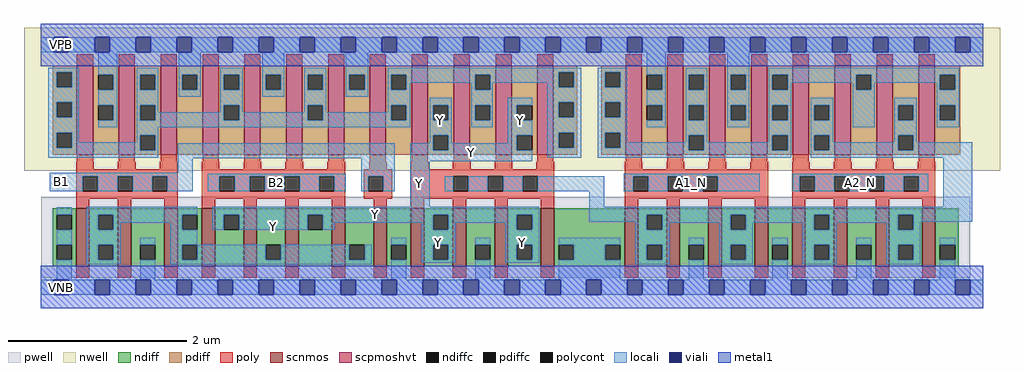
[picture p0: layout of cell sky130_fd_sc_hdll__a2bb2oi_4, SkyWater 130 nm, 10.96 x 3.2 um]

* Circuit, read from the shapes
.subckt sky130_fd_sc_hdll__a2bb2oi_4 A1_N A2_N B1 B2 VGND VNB VPB VPWR Y
XM1 n1 B1 VGND VNB sky130_fd_pr__nfet_01v8 w=0.65 l=0.15 m=4
XM2 Y B2 n1 VNB sky130_fd_pr__nfet_01v8 w=0.65 l=0.15 m=4
XM3 Y n2 VGND VNB sky130_fd_pr__nfet_01v8 w=0.65 l=0.15 m=4
XM4 n2 A1_N VGND VNB sky130_fd_pr__nfet_01v8 w=0.65 l=0.15 m=4
XM5 n2 A2_N VGND VNB sky130_fd_pr__nfet_01v8 w=0.65 l=0.15 m=4
XM6 VPWR B1 n3 VPB sky130_fd_pr__pfet_01v8_hvt w=1 l=0.18 m=4
XM7 n3 B2 VPWR VPB sky130_fd_pr__pfet_01v8_hvt w=1 l=0.18 m=4
XM8 Y n2 n3 VPB sky130_fd_pr__pfet_01v8_hvt w=1 l=0.18 m=4
XM9 VPWR A1_N n4 VPB sky130_fd_pr__pfet_01v8_hvt w=1 l=0.18 m=4
XM10 n2 A2_N n4 VPB sky130_fd_pr__pfet_01v8_hvt w=1 l=0.18 m=4
.ends

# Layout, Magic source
magic
tech sky130A
magscale 1 2
<< nwell >>
rect -38 261 2154 582
<< pwell >>
rect 1 21 2087 203
rect 30 -17 64 21
<< scnmos >>
rect 79 47 109 177
rect 173 47 203 177
rect 277 47 307 177
rect 361 47 391 177
rect 455 47 485 177
rect 549 47 579 177
rect 653 47 683 177
rect 747 47 777 177
rect 831 47 861 177
rect 925 47 955 177
rect 1019 47 1049 177
rect 1123 47 1153 177
rect 1311 47 1341 177
rect 1405 47 1435 177
rect 1499 47 1529 177
rect 1603 47 1633 177
rect 1687 47 1717 177
rect 1781 47 1811 177
rect 1875 47 1905 177
rect 1979 47 2009 177
<< scpmoshvt >>
rect 81 297 117 497
rect 175 297 211 497
rect 269 297 305 497
rect 363 297 399 497
rect 457 297 493 497
rect 551 297 587 497
rect 645 297 681 497
rect 739 297 775 497
rect 833 297 869 497
rect 927 297 963 497
rect 1021 297 1057 497
rect 1115 297 1151 497
rect 1313 297 1349 497
rect 1407 297 1443 497
rect 1501 297 1537 497
rect 1595 297 1631 497
rect 1689 297 1725 497
rect 1783 297 1819 497
rect 1877 297 1913 497
rect 1971 297 2007 497
<< ndiff >>
rect 27 163 79 177
rect 27 129 35 163
rect 69 129 79 163
rect 27 95 79 129
rect 27 61 35 95
rect 69 61 79 95
rect 27 47 79 61
rect 109 163 173 177
rect 109 129 129 163
rect 163 129 173 163
rect 109 95 173 129
rect 109 61 129 95
rect 163 61 173 95
rect 109 47 173 61
rect 203 95 277 177
rect 203 61 223 95
rect 257 61 277 95
rect 203 47 277 61
rect 307 163 361 177
rect 307 129 317 163
rect 351 129 361 163
rect 307 95 361 129
rect 307 61 317 95
rect 351 61 361 95
rect 307 47 361 61
rect 391 163 455 177
rect 391 129 411 163
rect 445 129 455 163
rect 391 47 455 129
rect 485 95 549 177
rect 485 61 505 95
rect 539 61 549 95
rect 485 47 549 61
rect 579 163 653 177
rect 579 129 599 163
rect 633 129 653 163
rect 579 47 653 129
rect 683 95 747 177
rect 683 61 693 95
rect 727 61 747 95
rect 683 47 747 61
rect 777 95 831 177
rect 777 61 787 95
rect 821 61 831 95
rect 777 47 831 61
rect 861 163 925 177
rect 861 129 881 163
rect 915 129 925 163
rect 861 95 925 129
rect 861 61 881 95
rect 915 61 925 95
rect 861 47 925 61
rect 955 95 1019 177
rect 955 61 975 95
rect 1009 61 1019 95
rect 955 47 1019 61
rect 1049 163 1123 177
rect 1049 129 1069 163
rect 1103 129 1123 163
rect 1049 95 1123 129
rect 1049 61 1069 95
rect 1103 61 1123 95
rect 1049 47 1123 61
rect 1153 95 1311 177
rect 1153 61 1163 95
rect 1197 61 1267 95
rect 1301 61 1311 95
rect 1153 47 1311 61
rect 1341 163 1405 177
rect 1341 129 1361 163
rect 1395 129 1405 163
rect 1341 95 1405 129
rect 1341 61 1361 95
rect 1395 61 1405 95
rect 1341 47 1405 61
rect 1435 95 1499 177
rect 1435 61 1455 95
rect 1489 61 1499 95
rect 1435 47 1499 61
rect 1529 163 1603 177
rect 1529 129 1549 163
rect 1583 129 1603 163
rect 1529 95 1603 129
rect 1529 61 1549 95
rect 1583 61 1603 95
rect 1529 47 1603 61
rect 1633 95 1687 177
rect 1633 61 1643 95
rect 1677 61 1687 95
rect 1633 47 1687 61
rect 1717 163 1781 177
rect 1717 129 1737 163
rect 1771 129 1781 163
rect 1717 95 1781 129
rect 1717 61 1737 95
rect 1771 61 1781 95
rect 1717 47 1781 61
rect 1811 95 1875 177
rect 1811 61 1831 95
rect 1865 61 1875 95
rect 1811 47 1875 61
rect 1905 163 1979 177
rect 1905 129 1925 163
rect 1959 129 1979 163
rect 1905 95 1979 129
rect 1905 61 1925 95
rect 1959 61 1979 95
rect 1905 47 1979 61
rect 2009 95 2061 177
rect 2009 61 2019 95
rect 2053 61 2061 95
rect 2009 47 2061 61
<< pdiff >>
rect 27 483 81 497
rect 27 449 35 483
rect 69 449 81 483
rect 27 415 81 449
rect 27 381 35 415
rect 69 381 81 415
rect 27 347 81 381
rect 27 313 35 347
rect 69 313 81 347
rect 27 297 81 313
rect 117 477 175 497
rect 117 443 129 477
rect 163 443 175 477
rect 117 409 175 443
rect 117 375 129 409
rect 163 375 175 409
rect 117 297 175 375
rect 211 477 269 497
rect 211 443 223 477
rect 257 443 269 477
rect 211 409 269 443
rect 211 375 223 409
rect 257 375 269 409
rect 211 341 269 375
rect 211 307 223 341
rect 257 307 269 341
rect 211 297 269 307
rect 305 477 363 497
rect 305 443 317 477
rect 351 443 363 477
rect 305 297 363 443
rect 399 477 457 497
rect 399 443 411 477
rect 445 443 457 477
rect 399 409 457 443
rect 399 375 411 409
rect 445 375 457 409
rect 399 297 457 375
rect 493 477 551 497
rect 493 443 505 477
rect 539 443 551 477
rect 493 297 551 443
rect 587 477 645 497
rect 587 443 599 477
rect 633 443 645 477
rect 587 409 645 443
rect 587 375 599 409
rect 633 375 645 409
rect 587 297 645 375
rect 681 477 739 497
rect 681 443 693 477
rect 727 443 739 477
rect 681 297 739 443
rect 775 477 833 497
rect 775 443 787 477
rect 821 443 833 477
rect 775 409 833 443
rect 775 375 787 409
rect 821 375 833 409
rect 775 297 833 375
rect 869 409 927 497
rect 869 375 881 409
rect 915 375 927 409
rect 869 341 927 375
rect 869 307 881 341
rect 915 307 927 341
rect 869 297 927 307
rect 963 477 1021 497
rect 963 443 975 477
rect 1009 443 1021 477
rect 963 409 1021 443
rect 963 375 975 409
rect 1009 375 1021 409
rect 963 297 1021 375
rect 1057 409 1115 497
rect 1057 375 1069 409
rect 1103 375 1115 409
rect 1057 341 1115 375
rect 1057 307 1069 341
rect 1103 307 1115 341
rect 1057 297 1115 307
rect 1151 483 1205 497
rect 1151 449 1163 483
rect 1197 449 1205 483
rect 1151 415 1205 449
rect 1151 381 1163 415
rect 1197 381 1205 415
rect 1151 347 1205 381
rect 1151 313 1163 347
rect 1197 313 1205 347
rect 1151 297 1205 313
rect 1259 483 1313 497
rect 1259 449 1267 483
rect 1301 449 1313 483
rect 1259 415 1313 449
rect 1259 381 1267 415
rect 1301 381 1313 415
rect 1259 347 1313 381
rect 1259 313 1267 347
rect 1301 313 1313 347
rect 1259 297 1313 313
rect 1349 477 1407 497
rect 1349 443 1361 477
rect 1395 443 1407 477
rect 1349 409 1407 443
rect 1349 375 1361 409
rect 1395 375 1407 409
rect 1349 297 1407 375
rect 1443 477 1501 497
rect 1443 443 1455 477
rect 1489 443 1501 477
rect 1443 409 1501 443
rect 1443 375 1455 409
rect 1489 375 1501 409
rect 1443 341 1501 375
rect 1443 307 1455 341
rect 1489 307 1501 341
rect 1443 297 1501 307
rect 1537 477 1595 497
rect 1537 443 1549 477
rect 1583 443 1595 477
rect 1537 409 1595 443
rect 1537 375 1549 409
rect 1583 375 1595 409
rect 1537 297 1595 375
rect 1631 477 1689 497
rect 1631 443 1643 477
rect 1677 443 1689 477
rect 1631 409 1689 443
rect 1631 375 1643 409
rect 1677 375 1689 409
rect 1631 341 1689 375
rect 1631 307 1643 341
rect 1677 307 1689 341
rect 1631 297 1689 307
rect 1725 409 1783 497
rect 1725 375 1737 409
rect 1771 375 1783 409
rect 1725 341 1783 375
rect 1725 307 1737 341
rect 1771 307 1783 341
rect 1725 297 1783 307
rect 1819 477 1877 497
rect 1819 443 1831 477
rect 1865 443 1877 477
rect 1819 297 1877 443
rect 1913 409 1971 497
rect 1913 375 1925 409
rect 1959 375 1971 409
rect 1913 341 1971 375
rect 1913 307 1925 341
rect 1959 307 1971 341
rect 1913 297 1971 307
rect 2007 477 2065 497
rect 2007 443 2019 477
rect 2053 443 2065 477
rect 2007 409 2065 443
rect 2007 375 2019 409
rect 2053 375 2065 409
rect 2007 297 2065 375
<< ndiffc >>
rect 35 129 69 163
rect 35 61 69 95
rect 129 129 163 163
rect 129 61 163 95
rect 223 61 257 95
rect 317 129 351 163
rect 317 61 351 95
rect 411 129 445 163
rect 505 61 539 95
rect 599 129 633 163
rect 693 61 727 95
rect 787 61 821 95
rect 881 129 915 163
rect 881 61 915 95
rect 975 61 1009 95
rect 1069 129 1103 163
rect 1069 61 1103 95
rect 1163 61 1197 95
rect 1267 61 1301 95
rect 1361 129 1395 163
rect 1361 61 1395 95
rect 1455 61 1489 95
rect 1549 129 1583 163
rect 1549 61 1583 95
rect 1643 61 1677 95
rect 1737 129 1771 163
rect 1737 61 1771 95
rect 1831 61 1865 95
rect 1925 129 1959 163
rect 1925 61 1959 95
rect 2019 61 2053 95
<< pdiffc >>
rect 35 449 69 483
rect 35 381 69 415
rect 35 313 69 347
rect 129 443 163 477
rect 129 375 163 409
rect 223 443 257 477
rect 223 375 257 409
rect 223 307 257 341
rect 317 443 351 477
rect 411 443 445 477
rect 411 375 445 409
rect 505 443 539 477
rect 599 443 633 477
rect 599 375 633 409
rect 693 443 727 477
rect 787 443 821 477
rect 787 375 821 409
rect 881 375 915 409
rect 881 307 915 341
rect 975 443 1009 477
rect 975 375 1009 409
rect 1069 375 1103 409
rect 1069 307 1103 341
rect 1163 449 1197 483
rect 1163 381 1197 415
rect 1163 313 1197 347
rect 1267 449 1301 483
rect 1267 381 1301 415
rect 1267 313 1301 347
rect 1361 443 1395 477
rect 1361 375 1395 409
rect 1455 443 1489 477
rect 1455 375 1489 409
rect 1455 307 1489 341
rect 1549 443 1583 477
rect 1549 375 1583 409
rect 1643 443 1677 477
rect 1643 375 1677 409
rect 1643 307 1677 341
rect 1737 375 1771 409
rect 1737 307 1771 341
rect 1831 443 1865 477
rect 1925 375 1959 409
rect 1925 307 1959 341
rect 2019 443 2053 477
rect 2019 375 2053 409
<< poly >>
rect 81 497 117 523
rect 175 497 211 523
rect 269 497 305 523
rect 363 497 399 523
rect 457 497 493 523
rect 551 497 587 523
rect 645 497 681 523
rect 739 497 775 523
rect 833 497 869 523
rect 927 497 963 523
rect 1021 497 1057 523
rect 1115 497 1151 523
rect 1313 497 1349 523
rect 1407 497 1443 523
rect 1501 497 1537 523
rect 1595 497 1631 523
rect 1689 497 1725 523
rect 1783 497 1819 523
rect 1877 497 1913 523
rect 1971 497 2007 523
rect 81 282 117 297
rect 175 282 211 297
rect 269 282 305 297
rect 363 282 399 297
rect 457 282 493 297
rect 551 282 587 297
rect 645 282 681 297
rect 739 282 775 297
rect 833 282 869 297
rect 927 282 963 297
rect 1021 282 1057 297
rect 1115 282 1151 297
rect 1313 282 1349 297
rect 1407 282 1443 297
rect 1501 282 1537 297
rect 1595 282 1631 297
rect 1689 282 1725 297
rect 1783 282 1819 297
rect 1877 282 1913 297
rect 1971 282 2007 297
rect 79 265 119 282
rect 173 265 213 282
rect 267 265 307 282
rect 79 249 307 265
rect 79 215 94 249
rect 128 215 172 249
rect 206 215 250 249
rect 284 215 307 249
rect 79 199 307 215
rect 79 177 109 199
rect 173 177 203 199
rect 277 177 307 199
rect 361 265 401 282
rect 455 265 495 282
rect 549 265 589 282
rect 643 265 683 282
rect 737 265 777 282
rect 831 265 871 282
rect 925 265 965 282
rect 1019 265 1059 282
rect 1113 265 1153 282
rect 361 249 683 265
rect 361 215 401 249
rect 435 215 469 249
rect 503 215 547 249
rect 581 215 625 249
rect 659 215 683 249
rect 361 199 683 215
rect 725 249 789 265
rect 725 215 735 249
rect 769 215 789 249
rect 725 199 789 215
rect 831 249 1153 265
rect 831 215 926 249
rect 960 215 1004 249
rect 1038 215 1082 249
rect 1116 215 1153 249
rect 831 199 1153 215
rect 361 177 391 199
rect 455 177 485 199
rect 549 177 579 199
rect 653 177 683 199
rect 747 177 777 199
rect 831 177 861 199
rect 925 177 955 199
rect 1019 177 1049 199
rect 1123 177 1153 199
rect 1311 265 1351 282
rect 1405 265 1445 282
rect 1499 265 1539 282
rect 1593 265 1633 282
rect 1311 249 1633 265
rect 1311 215 1330 249
rect 1364 215 1408 249
rect 1442 215 1486 249
rect 1520 215 1633 249
rect 1311 199 1633 215
rect 1311 177 1341 199
rect 1405 177 1435 199
rect 1499 177 1529 199
rect 1603 177 1633 199
rect 1687 265 1727 282
rect 1781 265 1821 282
rect 1875 265 1915 282
rect 1969 265 2009 282
rect 1687 249 2009 265
rect 1687 215 1704 249
rect 1738 215 1782 249
rect 1816 215 1860 249
rect 1894 215 1938 249
rect 1972 215 2009 249
rect 1687 199 2009 215
rect 1687 177 1717 199
rect 1781 177 1811 199
rect 1875 177 1905 199
rect 1979 177 2009 199
rect 79 21 109 47
rect 173 21 203 47
rect 277 21 307 47
rect 361 21 391 47
rect 455 21 485 47
rect 549 21 579 47
rect 653 21 683 47
rect 747 21 777 47
rect 831 21 861 47
rect 925 21 955 47
rect 1019 21 1049 47
rect 1123 21 1153 47
rect 1311 21 1341 47
rect 1405 21 1435 47
rect 1499 21 1529 47
rect 1603 21 1633 47
rect 1687 21 1717 47
rect 1781 21 1811 47
rect 1875 21 1905 47
rect 1979 21 2009 47
<< polycont >>
rect 94 215 128 249
rect 172 215 206 249
rect 250 215 284 249
rect 401 215 435 249
rect 469 215 503 249
rect 547 215 581 249
rect 625 215 659 249
rect 735 215 769 249
rect 926 215 960 249
rect 1004 215 1038 249
rect 1082 215 1116 249
rect 1330 215 1364 249
rect 1408 215 1442 249
rect 1486 215 1520 249
rect 1704 215 1738 249
rect 1782 215 1816 249
rect 1860 215 1894 249
rect 1938 215 1972 249
<< locali >>
rect 0 527 29 561
rect 63 527 121 561
rect 155 527 213 561
rect 247 527 305 561
rect 339 527 397 561
rect 431 527 489 561
rect 523 527 581 561
rect 615 527 673 561
rect 707 527 765 561
rect 799 527 857 561
rect 891 527 949 561
rect 983 527 1041 561
rect 1075 527 1133 561
rect 1167 527 1225 561
rect 1259 527 1317 561
rect 1351 527 1409 561
rect 1443 527 1501 561
rect 1535 527 1593 561
rect 1627 527 1685 561
rect 1719 527 1777 561
rect 1811 527 1869 561
rect 1903 527 1961 561
rect 1995 527 2053 561
rect 2087 527 2116 561
rect 17 483 85 493
rect 17 449 35 483
rect 69 449 85 483
rect 17 415 85 449
rect 17 381 35 415
rect 69 381 85 415
rect 17 347 85 381
rect 129 477 171 527
rect 163 443 171 477
rect 129 409 171 443
rect 163 375 171 409
rect 129 359 171 375
rect 215 477 263 493
rect 215 443 223 477
rect 257 443 263 477
rect 215 409 263 443
rect 309 477 359 527
rect 309 443 317 477
rect 351 443 359 477
rect 309 427 359 443
rect 403 477 453 493
rect 403 443 411 477
rect 445 443 453 477
rect 215 375 223 409
rect 257 393 263 409
rect 403 409 453 443
rect 497 477 547 527
rect 497 443 505 477
rect 539 443 547 477
rect 497 427 547 443
rect 591 477 641 493
rect 591 443 599 477
rect 633 443 641 477
rect 403 393 411 409
rect 257 375 411 393
rect 445 393 453 409
rect 591 409 641 443
rect 685 477 735 527
rect 685 443 693 477
rect 727 443 735 477
rect 685 427 735 443
rect 779 483 1213 493
rect 779 477 1163 483
rect 779 443 787 477
rect 821 459 975 477
rect 821 443 829 459
rect 591 393 599 409
rect 445 375 599 393
rect 633 393 641 409
rect 779 409 829 443
rect 967 443 975 459
rect 1009 459 1163 477
rect 1009 443 1015 459
rect 779 393 787 409
rect 633 375 787 393
rect 821 375 829 409
rect 215 359 829 375
rect 873 409 923 425
rect 873 375 881 409
rect 915 375 923 409
rect 17 313 35 347
rect 69 325 85 347
rect 215 341 263 359
rect 215 325 223 341
rect 69 313 223 325
rect 17 307 223 313
rect 257 307 263 341
rect 873 341 923 375
rect 967 409 1015 443
rect 1137 449 1163 459
rect 1197 449 1213 483
rect 967 375 975 409
rect 1009 375 1015 409
rect 967 359 1015 375
rect 1049 409 1103 425
rect 1049 375 1069 409
rect 873 323 881 341
rect 17 291 263 307
rect 307 289 795 323
rect 307 257 341 289
rect 20 249 341 257
rect 20 215 94 249
rect 128 215 172 249
rect 206 215 250 249
rect 284 215 341 249
rect 375 249 685 255
rect 375 215 401 249
rect 435 215 469 249
rect 503 215 547 249
rect 581 215 625 249
rect 659 215 685 249
rect 719 249 795 289
rect 719 215 735 249
rect 769 215 795 249
rect 829 307 881 323
rect 915 323 923 341
rect 1049 341 1103 375
rect 1049 323 1069 341
rect 915 307 1069 323
rect 829 283 1103 307
rect 1137 415 1213 449
rect 1137 381 1163 415
rect 1197 381 1213 415
rect 1137 347 1213 381
rect 1137 313 1163 347
rect 1197 313 1213 347
rect 1137 291 1213 313
rect 1251 483 1317 493
rect 1251 449 1267 483
rect 1301 449 1317 483
rect 1251 415 1317 449
rect 1251 381 1267 415
rect 1301 381 1317 415
rect 1251 347 1317 381
rect 1361 477 1403 527
rect 1395 443 1403 477
rect 1361 409 1403 443
rect 1395 375 1403 409
rect 1361 359 1403 375
rect 1448 477 1496 493
rect 1448 443 1455 477
rect 1489 443 1496 477
rect 1448 409 1496 443
rect 1448 375 1455 409
rect 1489 375 1496 409
rect 1251 313 1267 347
rect 1301 325 1317 347
rect 1448 341 1496 375
rect 1541 477 1591 527
rect 1541 443 1549 477
rect 1583 443 1591 477
rect 1541 409 1591 443
rect 1541 375 1549 409
rect 1583 375 1591 409
rect 1541 359 1591 375
rect 1635 477 2062 493
rect 1635 443 1643 477
rect 1677 459 1831 477
rect 1677 443 1685 459
rect 1635 409 1685 443
rect 1823 443 1831 459
rect 1865 459 2019 477
rect 1865 443 1873 459
rect 1635 375 1643 409
rect 1677 375 1685 409
rect 1448 325 1455 341
rect 1301 313 1455 325
rect 1251 307 1455 313
rect 1489 325 1496 341
rect 1635 341 1685 375
rect 1635 325 1643 341
rect 1489 307 1643 325
rect 1677 307 1685 341
rect 1251 291 1685 307
rect 1729 409 1779 425
rect 1729 375 1737 409
rect 1771 375 1779 409
rect 1729 341 1779 375
rect 1823 359 1873 443
rect 2012 443 2019 459
rect 2053 443 2062 477
rect 1917 409 1967 425
rect 1917 375 1925 409
rect 1959 375 1967 409
rect 1729 307 1737 341
rect 1771 325 1779 341
rect 1917 341 1967 375
rect 2012 409 2062 443
rect 2012 375 2019 409
rect 2053 375 2062 409
rect 2012 359 2062 375
rect 1917 325 1925 341
rect 1771 307 1925 325
rect 1959 325 1967 341
rect 1959 307 2092 325
rect 1729 291 2092 307
rect 829 181 873 283
rect 1309 249 1614 255
rect 907 215 926 249
rect 960 215 1004 249
rect 1038 215 1082 249
rect 1116 215 1265 249
rect 1309 215 1330 249
rect 1364 215 1408 249
rect 1442 215 1486 249
rect 1520 215 1614 249
rect 1688 249 1993 255
rect 1688 215 1704 249
rect 1738 215 1782 249
rect 1816 215 1860 249
rect 1894 215 1938 249
rect 1972 215 1993 249
rect 1231 181 1265 215
rect 2027 181 2092 291
rect 35 163 69 179
rect 35 95 69 129
rect 35 17 69 61
rect 103 163 351 181
rect 103 129 129 163
rect 163 145 317 163
rect 163 129 179 145
rect 103 95 179 129
rect 291 129 317 145
rect 385 163 1119 181
rect 385 129 411 163
rect 445 129 599 163
rect 633 145 881 163
rect 633 129 659 145
rect 855 129 881 145
rect 915 145 1069 163
rect 915 129 931 145
rect 103 61 129 95
rect 163 61 179 95
rect 103 51 179 61
rect 223 95 257 111
rect 223 17 257 61
rect 291 95 351 129
rect 787 95 821 111
rect 291 61 317 95
rect 351 61 505 95
rect 539 61 693 95
rect 727 61 743 95
rect 291 51 743 61
rect 787 17 821 61
rect 855 95 931 129
rect 1043 129 1069 145
rect 1103 129 1119 163
rect 1231 163 2092 181
rect 1231 147 1361 163
rect 855 61 881 95
rect 915 61 931 95
rect 855 55 931 61
rect 975 95 1009 111
rect 975 17 1009 61
rect 1043 95 1119 129
rect 1335 129 1361 147
rect 1395 145 1549 163
rect 1395 129 1411 145
rect 1043 61 1069 95
rect 1103 61 1119 95
rect 1043 55 1119 61
rect 1163 95 1301 111
rect 1197 61 1267 95
rect 1163 17 1301 61
rect 1335 95 1411 129
rect 1523 129 1549 145
rect 1583 145 1737 163
rect 1583 129 1599 145
rect 1335 61 1361 95
rect 1395 61 1411 95
rect 1335 51 1411 61
rect 1455 95 1489 111
rect 1455 17 1489 61
rect 1523 95 1599 129
rect 1711 129 1737 145
rect 1771 145 1925 163
rect 1771 129 1787 145
rect 1523 61 1549 95
rect 1583 61 1599 95
rect 1523 51 1599 61
rect 1643 95 1677 111
rect 1643 17 1677 61
rect 1711 95 1787 129
rect 1899 129 1925 145
rect 1959 147 2092 163
rect 1959 129 1975 147
rect 1711 61 1737 95
rect 1771 61 1787 95
rect 1711 51 1787 61
rect 1831 95 1865 111
rect 1831 17 1865 61
rect 1899 95 1975 129
rect 1899 61 1925 95
rect 1959 61 1975 95
rect 1899 51 1975 61
rect 2019 95 2053 111
rect 2019 17 2053 61
rect 0 -17 29 17
rect 63 -17 121 17
rect 155 -17 213 17
rect 247 -17 305 17
rect 339 -17 397 17
rect 431 -17 489 17
rect 523 -17 581 17
rect 615 -17 673 17
rect 707 -17 765 17
rect 799 -17 857 17
rect 891 -17 949 17
rect 983 -17 1041 17
rect 1075 -17 1133 17
rect 1167 -17 1225 17
rect 1259 -17 1317 17
rect 1351 -17 1409 17
rect 1443 -17 1501 17
rect 1535 -17 1593 17
rect 1627 -17 1685 17
rect 1719 -17 1777 17
rect 1811 -17 1869 17
rect 1903 -17 1961 17
rect 1995 -17 2053 17
rect 2087 -17 2116 17
<< viali >>
rect 29 527 63 561
rect 121 527 155 561
rect 213 527 247 561
rect 305 527 339 561
rect 397 527 431 561
rect 489 527 523 561
rect 581 527 615 561
rect 673 527 707 561
rect 765 527 799 561
rect 857 527 891 561
rect 949 527 983 561
rect 1041 527 1075 561
rect 1133 527 1167 561
rect 1225 527 1259 561
rect 1317 527 1351 561
rect 1409 527 1443 561
rect 1501 527 1535 561
rect 1593 527 1627 561
rect 1685 527 1719 561
rect 1777 527 1811 561
rect 1869 527 1903 561
rect 1961 527 1995 561
rect 2053 527 2087 561
rect 29 -17 63 17
rect 121 -17 155 17
rect 213 -17 247 17
rect 305 -17 339 17
rect 397 -17 431 17
rect 489 -17 523 17
rect 581 -17 615 17
rect 673 -17 707 17
rect 765 -17 799 17
rect 857 -17 891 17
rect 949 -17 983 17
rect 1041 -17 1075 17
rect 1133 -17 1167 17
rect 1225 -17 1259 17
rect 1317 -17 1351 17
rect 1409 -17 1443 17
rect 1501 -17 1535 17
rect 1593 -17 1627 17
rect 1685 -17 1719 17
rect 1777 -17 1811 17
rect 1869 -17 1903 17
rect 1961 -17 1995 17
rect 2053 -17 2087 17
<< metal1 >>
rect 0 561 2116 592
rect 0 527 29 561
rect 63 527 121 561
rect 155 527 213 561
rect 247 527 305 561
rect 339 527 397 561
rect 431 527 489 561
rect 523 527 581 561
rect 615 527 673 561
rect 707 527 765 561
rect 799 527 857 561
rect 891 527 949 561
rect 983 527 1041 561
rect 1075 527 1133 561
rect 1167 527 1225 561
rect 1259 527 1317 561
rect 1351 527 1409 561
rect 1443 527 1501 561
rect 1535 527 1593 561
rect 1627 527 1685 561
rect 1719 527 1777 561
rect 1811 527 1869 561
rect 1903 527 1961 561
rect 1995 527 2053 561
rect 2087 527 2116 561
rect 0 496 2116 527
rect 0 17 2116 48
rect 0 -17 29 17
rect 63 -17 121 17
rect 155 -17 213 17
rect 247 -17 305 17
rect 339 -17 397 17
rect 431 -17 489 17
rect 523 -17 581 17
rect 615 -17 673 17
rect 707 -17 765 17
rect 799 -17 857 17
rect 891 -17 949 17
rect 983 -17 1041 17
rect 1075 -17 1133 17
rect 1167 -17 1225 17
rect 1259 -17 1317 17
rect 1351 -17 1409 17
rect 1443 -17 1501 17
rect 1535 -17 1593 17
rect 1627 -17 1685 17
rect 1719 -17 1777 17
rect 1811 -17 1869 17
rect 1903 -17 1961 17
rect 1995 -17 2053 17
rect 2087 -17 2116 17
rect 0 -48 2116 -17
<< labels >>
flabel locali s 1049 323 1103 425 0 FreeSans 400 0 0 0 Y
port 9 nsew signal output
flabel locali s 1688 215 1993 255 0 FreeSans 400 180 0 0 A2_N
port 2 nsew signal input
flabel locali s 375 215 685 255 0 FreeSans 400 180 0 0 B2
port 4 nsew signal input
flabel locali s 1309 215 1614 255 0 FreeSans 400 0 0 0 A1_N
port 1 nsew signal input
flabel locali s 30 221 64 255 0 FreeSans 400 0 0 0 B1
port 3 nsew signal input
flabel pwell s 30 -17 64 17 0 FreeSans 200 0 0 0 VNB
port 6 nsew ground bidirectional
flabel nwell s 30 527 64 561 0 FreeSans 200 0 0 0 VPB
port 7 nsew power bidirectional
flabel metal1 s 30 -17 64 17 0 FreeSans 200 0 0 0 VGND
port 5 nsew ground bidirectional
flabel metal1 s 30 527 64 561 0 FreeSans 200 0 0 0 VPWR
port 8 nsew power bidirectional
rlabel locali s 1043 55 1119 145 1 Y
port 9 nsew signal output
rlabel locali s 873 323 923 425 1 Y
port 9 nsew signal output
rlabel locali s 855 55 931 145 1 Y
port 9 nsew signal output
rlabel locali s 829 283 1103 323 1 Y
port 9 nsew signal output
rlabel locali s 829 181 873 283 1 Y
port 9 nsew signal output
rlabel locali s 385 145 1119 181 1 Y
port 9 nsew signal output
rlabel locali s 385 129 659 145 1 Y
port 9 nsew signal output
<< properties >>
string LEFsite unithd
string LEFclass CORE
string FIXED_BBOX 0 0 2116 544
string GDS_FILE $PDKPATH/libs.ref/sky130_fd_sc_hdll/gds/sky130_fd_sc_hdll.gds
string LEFsymmetry X Y R90
string GDS_END 1752682
string GDS_START 1737588
string LEFproperties maskLayoutSubType "abstract" prCellType "standard" originalViewName "layout"
<< end >>
